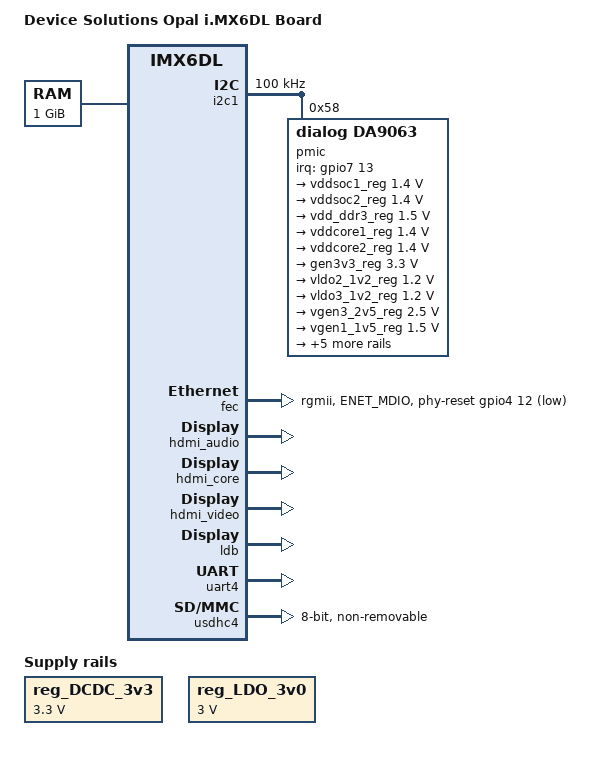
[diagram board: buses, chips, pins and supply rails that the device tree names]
/*
 * Copyright 2014 Device Solutions Ltd
 *
 * Author: John Inglis <john@device.solutions>
 *
 * This program is free software; you can redistribute it and/or modify
 * it under the terms of the GNU General Public License version 2 as
 * published by the Free Software Foundation.
 *
 */
#include "imx6dl.dtsi"
#include <dt-bindings/gpio/gpio.h>

/ {
	model = "Device Solutions Opal i.MX6DL Board";
	compatible = "devicesolutions,imx6dl-opal", "fsl,imx6dl";

	memory {
		reg = <0x10000000 0x40000000>;
	};

    regulators {
		compatible = "simple-bus";

		reg_DCDC_3v3: dcdc_3v3 {
			compatible = "regulator-fixed";
			regulator-name = "DCDC_3v3";
			regulator-min-microvolt = <3300000>;
			regulator-max-microvolt = <3300000>;
			regulator-always-on;
		};

		reg_LDO_3v0: ldo_3v0 {
			compatible = "regulator-fixed";
			regulator-name = "LDO_3v0";
			regulator-min-microvolt = <3000000>;
			regulator-max-microvolt = <3000000>;
			regulator-always-on;
		};
	};
};

&i2c1 {
	status = "okay";
	clock-frequency = <100000>;
	pinctrl-names = "default";
	pinctrl-0 = <&pinctrl_i2c1_2>;

    pmic: dialog@58 {
		compatible = "dialog,da9063";
		reg = <0x58>;
        interrupt-parent = <&gpio7>;
		interrupts = <13 0x8>;  /* active low triggered */

		regulators {
			vddsoc1_reg: bcore1 {
				regulator-min-microvolt = <1400000>;
				regulator-max-microvolt = <1400000>;
				regulator-always-on;
			};

			vddsoc2_reg: bcore2 {
				regulator-min-microvolt = <1400000>;
				regulator-max-microvolt = <1400000>;
				regulator-always-on;
			};

			vdd_ddr3_reg: bpro {
				regulator-min-microvolt = <1500000>;
				regulator-max-microvolt = <1500000>;
				regulator-always-on;
			};

			vddcore1_reg: bmem {
				regulator-min-microvolt = <1400000>;
				regulator-max-microvolt = <1400000>;
				regulator-always-on;
			};

			vddcore2_reg: bio {
				regulator-min-microvolt = <1400000>;
				regulator-max-microvolt = <1400000>;
				regulator-always-on;
			};

			gen3v3_reg: bperi {
				regulator-min-microvolt = <3300000>;
				regulator-max-microvolt = <3300000>;
				regulator-always-on;
			};

			vldo2_1v2_reg: ldo2 {
				regulator-min-microvolt = <1200000>;
				regulator-max-microvolt = <1200000>;
				regulator-always-on;
			};

			vldo3_1v2_reg: ldo3 {
				regulator-min-microvolt = <1200000>;
				regulator-max-microvolt = <1200000>;
				regulator-always-on;
			};

			vgen3_2v5_reg: ldo5 {
				regulator-min-microvolt = <2500000>;
				regulator-max-microvolt = <2500000>;
				regulator-always-on;
			};

			vgen1_1v5_reg: ldo6 {
				regulator-min-microvolt = <1500000>;
				regulator-max-microvolt = <1500000>;
				regulator-always-on;
			};

			vgen6_3v3_reg: ldo7 {
				regulator-min-microvolt = <3300000>;
				regulator-max-microvolt = <3300000>;
				regulator-always-on;
			};

			vgen2_1v5_reg: ldo8 {
				regulator-min-microvolt = <1500000>;
				regulator-max-microvolt = <1500000>;
				regulator-always-on;
			};

			vddio_reg: ldo9 {
				regulator-min-microvolt = <1800000>;
				regulator-max-microvolt = <1800000>;
				regulator-always-on;
			};

			vgen4_1v8_reg: ldo10 {
				regulator-min-microvolt = <1800000>;
				regulator-max-microvolt = <1800000>;
				regulator-always-on;
			};

			vgen5_2v8_reg: ldo11 {
				regulator-min-microvolt = <2800000>;
				regulator-max-microvolt = <2800000>;
				regulator-always-on;
			};
		};
	};
};

&fec {  /* fast ethernet controller */
	pinctrl-names = "default";
	pinctrl-0 = <&pinctrl_enet_1>;
	phy-mode = "rgmii";
    phy-reset-gpios = <&gpio4 12 GPIO_ACTIVE_LOW>;
	status = "okay";
};

&hdmi_audio {
	status = "okay";
};

&hdmi_core {
	ipu_id = <0>;
	disp_id = <1>;
	status = "okay";
};

&hdmi_video {
	fsl,phy_reg_vlev = <0x0294>;
	fsl,phy_reg_cksymtx = <0x800d>;
	status = "okay";
};

&ldb {
	status = "okay";

	lvds-channel@0 {
		fsl,data-mapping = "spwg";
		fsl,data-width = <18>;
		//primary;
		status = "okay";

		display-timings {
			native-mode = <&timing0>;
			timing0: hsd100pxn1 {
				clock-frequency = <65000000>;
				hactive = <1024>;
				vactive = <768>;
				hback-porch = <220>;
				hfront-porch = <40>;
				vback-porch = <21>;
				vfront-porch = <7>;
				hsync-len = <60>;
				vsync-len = <10>;
			};
		};
	};

	lvds-channel@1 {
		fsl,data-mapping = "spwg";
		fsl,data-width = <18>;
		primary;
		status = "okay";

		display-timings {
			native-mode = <&timing1>;
			timing1: hsd100pxn1 {
				clock-frequency = <65000000>;
				hactive = <1024>;
				vactive = <768>;
				hback-porch = <220>;
				hfront-porch = <40>;
				vback-porch = <21>;
				vfront-porch = <7>;
				hsync-len = <60>;
				vsync-len = <10>;
			};
		};
	};
};

&uart4 {  /* debug serial */
	pinctrl-names = "default";
	pinctrl-0 = <&pinctrl_uart4_1>;
	status = "okay";
};

&usdhc4 {  /* eMMC */
	pinctrl-names = "default";
	pinctrl-0 = <&pinctrl_usdhc4_1>;
	non-removable;
    no-1-8-v;
	bus-width = <8>;
	status = "okay";
};

&iomuxc {
    pinctrl-names = "default";
	pinctrl-0 = <&pinctrl_hog>;

	imx6dl-opal6 {
		pinctrl_hog: hoggrp {
			fsl,pins = <
                /* PMIC */
                MX6QDL_PAD_GPIO_18__GPIO7_IO13  0x80000000
                /* PHY Reset */
				MX6QDL_PAD_KEY_COL3__GPIO4_IO12 0x80000000
			>;
		};

		pinctrl_enet_1: enetgrp-1 {
			fsl,pins = <
				MX6QDL_PAD_ENET_MDIO__ENET_MDIO 0x1f0b0  // enable 22K pullup
			>;
		};
    };
};
